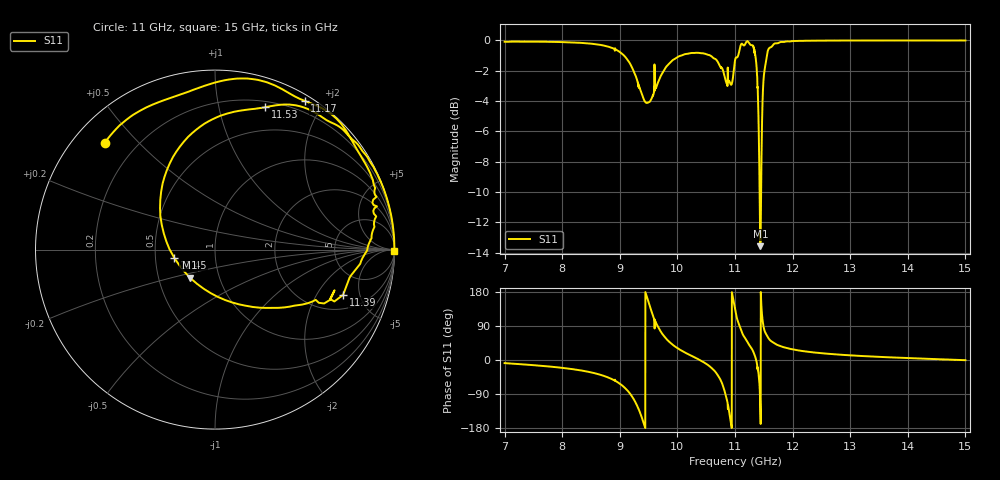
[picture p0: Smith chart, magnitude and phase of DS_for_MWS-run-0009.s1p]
! TOUCHSTONE file generated by CST DESIGN STUDIO
! Date and time: Mon Feb 10 16:47:03 2025
! Project name: C:\Work\MatlabApps\UnitCellType2OptimizationMatlab\CST\unitcell.cst
! Tree item: Tasks\Sweep1\SPara1\S-Parameters
! Header version: 2024
! Port assignment regex: !\s*Touchstone port\s*([0-9]+)\s*=\s*(CST MWS port|CST DES external port|CST DES block port)\s*(.+)\s* \(\"(.*)\"\)(\s*mode\s*([0-9]+))?.*
! Touchstone port assignment:
! Touchstone port 1 = CST DES external port 1 ("")
# GHz S MA R 50
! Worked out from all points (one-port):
!   4001 points, 7 GHz to 15 GHz, reference 50 ohm
!   lowest |S11| = -13.6 dB at 11.44 GHz (marker M1), VSWR 1.53, Z = 36.1 - j11.8 ohm
!   |S11| at or under -10 dB: 11.42745 GHz to 11.45328 GHz (25.83 MHz wide, 0.226 % of centre)
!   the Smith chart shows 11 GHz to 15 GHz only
!   S11 on the Smith chart (normalised r, x): 11 GHz: 0.09, +0.40; 11.17 GHz: 0.07, +1.77; 11.39 GHz: 2.93, -3.47; 11.45 GHz: 0.63, -0.06; 11.53 GHz: 0.25, +1.38; 15 GHz: open
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7  0.9904 -8.2
8  0.9876 -20.7
8.638  0.9686 -37.9
9  0.916 -62.6
9.25  0.7848 -105.6
9.442  0.6267 -179.7
9.642  0.7088 93.9
10  0.8808 31.4
10.564  0.8931 -17.2
10.712  0.8423 -42.8
10.816  0.7657 -80.3
10.914  0.7248 -152.5
10.998  0.8541 135.9
11  0.8594 134.1
11.072  0.9181 92.8
11.17  0.9673 59.0
11.32  0.9563 21.1
11.386  0.7571 -19.5
11.414  0.4801 -42.5
11.44  0.2098 -131.9
11.446  0.2316 -168.8
11.494  0.7362 89.4
11.532  0.8415 70.6
11.682  0.9756 44.1
12  0.9955 28.0
13  0.9993 12.3
14  0.9999 5.1
15  0.9996 -0.5
